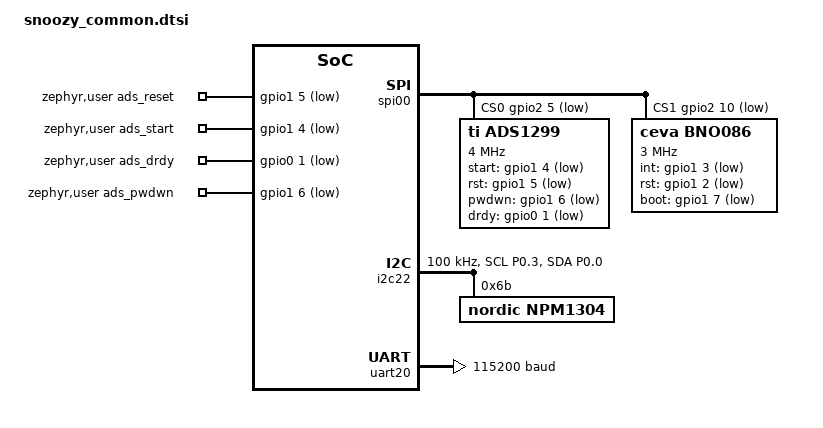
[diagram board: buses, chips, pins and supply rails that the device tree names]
/*
 * Copyright (c) 2024 Nordic Semiconductor ASA
 * Copyright (c) 2025 Ezurio LLC
 *
 * SPDX-License-Identifier: Apache-2.0
 */

#include "snoozy_nrf54l_10_15-pinctrl.dtsi"

/ {
    aliases {
        ads1299 = &ads1299;
        bno086 = &bno086;
        npm1304 = &npm1304;
    };
};

&spi00 {
    status = "okay";
    cs-gpios =  <&gpio2 5 GPIO_ACTIVE_LOW>, // TODO: do these map to ads and bno respectively? 
                <&gpio2 10 GPIO_ACTIVE_LOW>;

    ads1299: ads1299@0 {
        compatible = "ti,ads1299";          /* custom binding you'll define */
        reg = <0>;                           /* index into cs-gpios */
        spi-max-frequency = <4000000>;       /* ADS1299 max 4 MHz */
        label = "ADS1299";
        start-gpios = <&gpio1 4 GPIO_ACTIVE_LOW>;
        rst-gpios = <&gpio1 5 GPIO_ACTIVE_LOW>;
        pwdwn-gpios = <&gpio1 6 GPIO_ACTIVE_LOW>;
        drdy-gpios = <&gpio0 1 GPIO_ACTIVE_LOW>;
    };

    bno086: bno086@1 {
        compatible = "ceva,bno086";          /* custom binding you'll define */
        reg = <1>;                           /* index into cs-gpios */
        spi-max-frequency = <3000000>;       /* BNO086 max 3 MHz */
        label = "BNO086";
        int-gpios = <&gpio1 3 GPIO_ACTIVE_LOW>;
        rst-gpios = <&gpio1 2 GPIO_ACTIVE_LOW>;
        boot-gpios = <&gpio1 7 GPIO_ACTIVE_LOW>;
    };
};

&spi00_default {
    group1 {
        psels = <NRF_PSEL(SPIM_SCK, 2, 1)>,
                <NRF_PSEL(SPIM_MISO, 2, 2)>,
                <NRF_PSEL(SPIM_MOSI, 2, 4)>;
    };
};
/delete-node/ &{/pin-controller/uart20_default/group1/};
/delete-node/ &{/pin-controller/uart20_default/group2/};

&i2c22 {
    status = "okay";    /* enable the I2C bus */
    pinctrl-0 = <&i2c22_default>;
    pinctrl-names = "default";
    npm1304: pmic@6b {
        label = "npm1304";
        gpio-controller;
        compatible = "nordic,npm1304";
        reg = <0x6b>;

        regulators {
            ldo2: LDO2 {
                regulator-init-microvolt = <3000000>;
                regulator-boot-on;
            };

            pvss2: PVSS2 {
                regulator-boot-on;
            };
        };
        #gpio-cells = <2>;
    };

    clock-frequency = <I2C_BITRATE_STANDARD>;
};

/ {
    zephyr,user {
        // pmic-gpios = <&pmic 0 0>; // TODO: if we need to use pmic gpio in app, instantiate them here.
        ads_reset_gpios = <&gpio1 5 GPIO_ACTIVE_LOW>;
        ads_start_gpios = <&gpio1 4 GPIO_ACTIVE_LOW>;
        ads_drdy_gpios  = <&gpio0 1 GPIO_ACTIVE_LOW>;  /* replace X with your DRDY pin */
        ads_pwdwn_gpios = <&gpio1 6 GPIO_ACTIVE_LOW>;
    };
};


&pinctrl {
    i2c22_default: i2c22_default {
        group1 {
            psels = <NRF_PSEL(TWIM_SCL, 0, 3)>, <NRF_PSEL(TWIM_SDA, 0, 0)>;
        };
    };
};

/* BLE things. May not work outside of NUS example. */

&uart20 {
	current-speed = <115200>;
	pinctrl-0 = <&uart20_default>;
	pinctrl-1 = <&uart20_sleep>;
	pinctrl-names = "default", "sleep";
};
